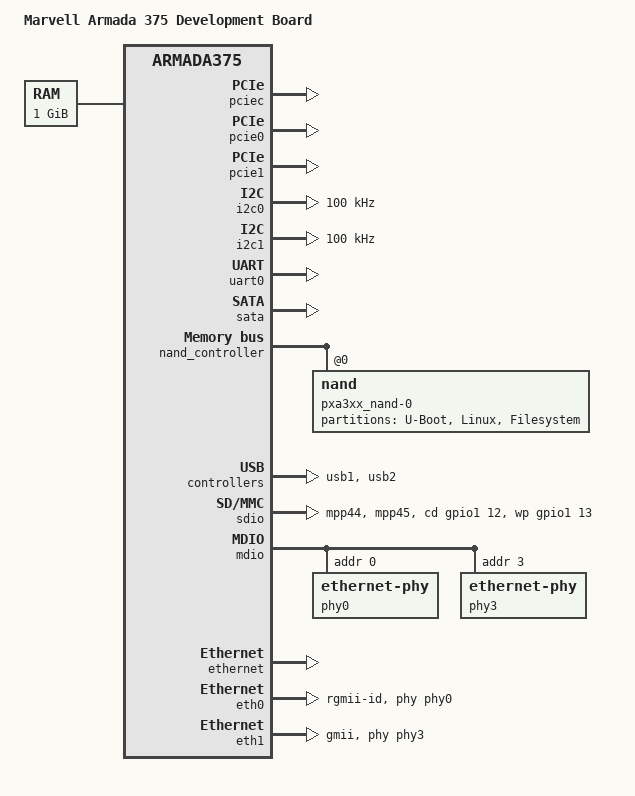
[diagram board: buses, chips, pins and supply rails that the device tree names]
// SPDX-License-Identifier: (GPL-2.0+ OR MIT)
/*
 * Device Tree file for Marvell Armada 375 evaluation board
 * (DB-88F6720)
 *
 *  Copyright (C) 2014 Marvell
 *
 * Gregory CLEMENT <gregory.clement@free-electrons.com>
 * Thomas Petazzoni <thomas.petazzoni@free-electrons.com>
 */

/dts-v1/;
#include <dt-bindings/gpio/gpio.h>
#include "armada-375.dtsi"

/ {
	model = "Marvell Armada 375 Development Board";
	compatible = "marvell,a375-db", "marvell,armada375";

	chosen {
		stdout-path = "serial0:115200n8";
	};

	memory@0 {
		device_type = "memory";
		reg = <0x00000000 0x40000000>; /* 1 GB */
	};

	soc {
		ranges = <MBUS_ID(0xf0, 0x01) 0 0xf1000000 0x100000
			  MBUS_ID(0x01, 0x1d) 0 0xfff00000 0x100000
			  MBUS_ID(0x09, 0x09) 0 0xf1100000 0x10000
			  MBUS_ID(0x09, 0x05) 0 0xf1110000 0x10000>;

	};
};
&pciec {
	status = "okay";
};

/*
 * The two PCIe units are accessible through
 * standard PCIe slots on the board.
 */
&pcie0 {
	/* Port 0, Lane 0 */
	status = "okay";
};

&pcie1 {
	/* Port 1, Lane 0 */
	status = "okay";
};


&spi0 {
	pinctrl-0 = <&spi0_pins>;
	pinctrl-names = "default";

	/*
	 * SPI conflicts with NAND, so we disable it here, and
	 * select NAND as the enabled device by default.
	 */

	status = "disabled";

	spi-flash@0 {
		#address-cells = <1>;
		#size-cells = <1>;
		compatible = "n25q128a13", "jedec,spi-nor";
		reg = <0>; /* Chip select 0 */
		spi-max-frequency = <108000000>;
	};
};

&i2c0 {
	status = "okay";
	clock-frequency = <100000>;
	pinctrl-0 = <&i2c0_pins>;
	pinctrl-names = "default";
};

&i2c1 {
	status = "okay";
	clock-frequency = <100000>;
	pinctrl-0 = <&i2c1_pins>;
	pinctrl-names = "default";
};

&uart0 {
	status = "okay";
};

&pinctrl {
	sdio_st_pins: sdio-st-pins {
		marvell,pins = "mpp44", "mpp45";
		marvell,function = "gpio";
	};
};

&sata {
	status = "okay";
	nr-ports = <2>;
};

&nand_controller {
	status = "okay";
	pinctrl-0 = <&nand_pins>;
	pinctrl-names = "default";

	nand@0 {
		reg = <0>;
		label = "pxa3xx_nand-0";
		nand-rb = <0>;
		marvell,nand-keep-config;
		nand-on-flash-bbt;
		nand-ecc-strength = <4>;
		nand-ecc-step-size = <512>;

		partitions {
			compatible = "fixed-partitions";
			#address-cells = <1>;
			#size-cells = <1>;

			partition@0 {
				label = "U-Boot";
				reg = <0 0x800000>;
			};
			partition@800000 {
				label = "Linux";
				reg = <0x800000 0x800000>;
			};
			partition@1000000 {
				label = "Filesystem";
				reg = <0x1000000 0x3f000000>;
			};
		};
	};
};

&usb1 {
	status = "okay";
};

&usb2 {
	status = "okay";
};

&sdio {
	pinctrl-0 = <&sdio_pins &sdio_st_pins>;
	pinctrl-names = "default";
	status = "okay";
	cd-gpios = <&gpio1 12 GPIO_ACTIVE_HIGH>;
	wp-gpios = <&gpio1 13 GPIO_ACTIVE_HIGH>;
};

&mdio {
	phy0: ethernet-phy@0 {
		reg = <0>;
	};

	phy3: ethernet-phy@3 {
		reg = <3>;
	};
};

&ethernet {
	status = "okay";
};


&eth0 {
	status = "okay";
	phy = <&phy0>;
	phy-mode = "rgmii-id";
};

&eth1 {
	status = "okay";
	phy = <&phy3>;
	phy-mode = "gmii";
};
